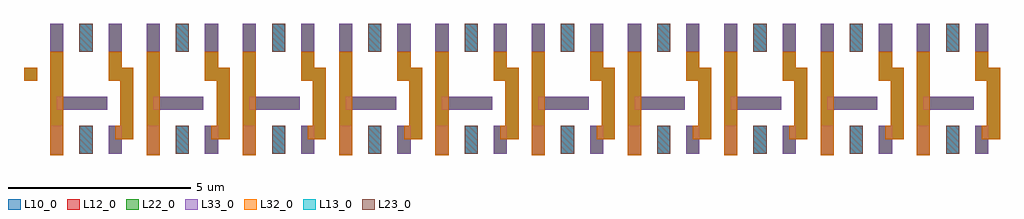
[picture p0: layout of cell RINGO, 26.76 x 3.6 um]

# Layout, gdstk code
import gdstk
lib = gdstk.Library(unit=1e-6, precision=1e-09)
def R(c, l, rs):  # rectangles x0, y0, x1, y1
    for r in rs: c.add(gdstk.rectangle(r[:2], r[2:], *l))
def P(c, l, *ps):  # polygons
    for p in ps: c.add(gdstk.Polygon(p, *l))
L10_0 = (10, 0)
L11_0 = (11, 0)
L12_0 = (12, 0)
L13_0 = (13, 0)
L22_0 = (22, 0)
L23_0 = (23, 0)
L32_0 = (32, 0)
L33_0 = (33, 0)

trans = lib.new_cell('TRANS')
R(trans, L10_0, [(-0.58,-0.38,-0.22,0.38), (0.22,-0.38,0.58,0.38)])
R(trans, L33_0, [(-0.58,-0.38,-0.22,0.38), (0.22,-0.38,0.58,0.38)])

inv2 = lib.new_cell('INV2')
R(inv2, L10_0, [(-0.98,-0.42,-0.62,2.42), (-0.8,0.82,0.58,1.18)])
P(inv2, L10_0, [(0.8,0.02),(0.8,0.38),(0.94,0.38),(0.94,1.62),(0.62,1.62),(0.62,2.42),(0.98,2.42),(0.98,1.98),(1.3,1.98),(1.3,0.02)])
P(inv2, L12_0, [(0.62,-0.38),(0.62,0.38),(0.94,0.38),(0.94,1.62),(0.62,1.62),(0.62,3.18),(0.98,3.18),(0.98,1.98),(1.3,1.98),(1.3,0.02),(0.98,0.02),(0.98,-0.38)],
  [(-0.98,-0.42),(-0.98,3.18),(-0.62,3.18),(-0.62,1.18),(0.58,1.18),(0.58,0.82),(-0.62,0.82),(-0.62,-0.42)])
R(inv2, L13_0, [(-0.18,-0.38,0.18,0.38), (-0.18,2.42,0.18,3.18)])
P(inv2, L22_0, [(0.62,-0.38),(0.62,0.38),(0.94,0.38),(0.94,1.62),(0.62,1.62),(0.62,3.18),(0.98,3.18),(0.98,1.98),(1.3,1.98),(1.3,0.02),(0.98,0.02),(0.98,-0.38)],
  [(-0.98,-0.42),(-0.98,3.18),(-0.62,3.18),(-0.62,1.18),(0.58,1.18),(0.58,0.82),(-0.62,0.82),(-0.62,-0.42)])
R(inv2, L23_0, [(-0.18,-0.38,0.18,0.38), (-0.18,2.42,0.18,3.18)])
R(inv2, L32_0, [(-0.98,-0.42,-0.62,2.42)])
P(inv2, L32_0, [(0.8,0.02),(0.8,0.38),(0.94,0.38),(0.94,1.62),(0.62,1.62),(0.62,2.42),(0.98,2.42),(0.98,1.98),(1.3,1.98),(1.3,0.02)])
R(inv2, L33_0, [(-0.8,0.82,0.58,1.18)])
inv2.add(gdstk.FlexPath([(1.4,1.8),(-1.4,1.8)], 0, ends="flush", simple_path=True, layer=11, datatype=0))  # L11_0
inv2.add(gdstk.FlexPath([(-1.4,3.8),(1.4,3.8)], 0, ends="flush", simple_path=True, layer=11, datatype=0))  # L11_0
inv2.add(gdstk.Reference(trans, (-0.4,0)))
inv2.add(gdstk.Reference(trans, (-0.4,2.8)))
inv2.add(gdstk.Reference(trans, (0.4,0), x_reflection=True))
inv2.add(gdstk.Reference(trans, (0.4,2.8), x_reflection=True))

ringo = lib.new_cell('RINGO')
R(ringo, L10_0, [(-1.7,1.62,-1.34,1.98)])
R(ringo, L12_0, [(-1.7,1.62,-1.34,1.98)])
R(ringo, L22_0, [(-1.7,1.62,-1.34,1.98)])
R(ringo, L32_0, [(-1.7,1.62,-1.34,1.98)])
ringo.add(gdstk.FlexPath([(-1.4,1.8),(-1.4,3.8)], 0, ends="flush", simple_path=True, layer=11, datatype=0))  # L11_0
ringo.add(gdstk.FlexPath([(25.16,3.8),(25.16,1.8)], 0, ends="flush", simple_path=True, layer=11, datatype=0))  # L11_0
ringo.add(gdstk.Reference(inv2, (0,0)))
ringo.add(gdstk.Reference(inv2, (2.64,0)))
ringo.add(gdstk.Reference(inv2, (5.28,0)))
ringo.add(gdstk.Reference(inv2, (7.92,0)))
ringo.add(gdstk.Reference(inv2, (10.56,0)))
ringo.add(gdstk.Reference(inv2, (13.2,0)))
ringo.add(gdstk.Reference(inv2, (15.84,0)))
ringo.add(gdstk.Reference(inv2, (18.48,0)))
ringo.add(gdstk.Reference(inv2, (21.12,0)))
ringo.add(gdstk.Reference(inv2, (23.76,0)))

lib.write_gds('RINGO.gds')
